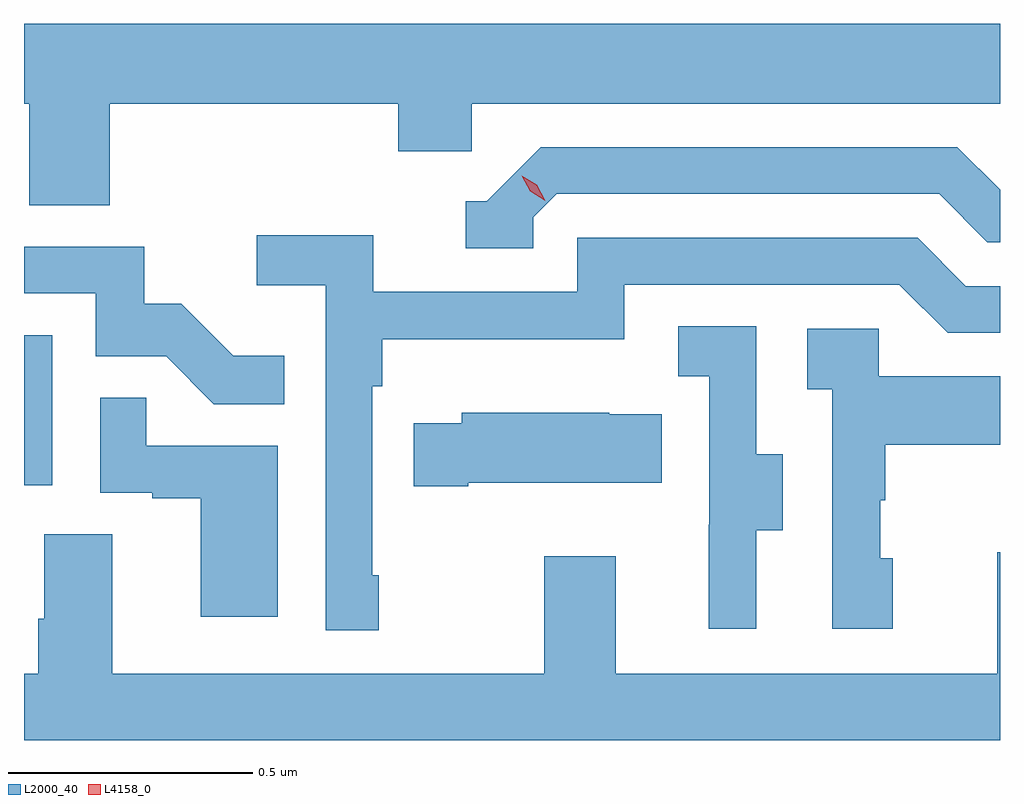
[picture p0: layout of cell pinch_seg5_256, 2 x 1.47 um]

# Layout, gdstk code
import gdstk
lib = gdstk.Library(unit=1e-6, precision=1e-09)
def R(c, l, rs):  # rectangles x0, y0, x1, y1
    for r in rs: c.add(gdstk.rectangle(r[:2], r[2:], *l))
def P(c, l, *ps):  # polygons
    for p in ps: c.add(gdstk.Polygon(p, *l))
L2000_40 = (2000, 40)
L4158_0 = (4158, 0)

pinch_seg5_256 = lib.new_cell('pinch_seg5_256')
R(pinch_seg5_256, L2000_40, [(935.544,902.598,935.602,902.905)])
P(pinch_seg5_256, L2000_40, [(935.72,903.38),(936.311,903.38),(936.311,903.282),(936.462,903.282),(936.462,903.38),(937.544,903.38),(937.544,903.544),(935.544,903.544),(935.544,903.38),(935.555,903.38),(935.555,903.172),(935.72,903.172)],
  [(936.588,903.147),(936.636,903.195),(937.419,903.195),(937.518,903.096),(937.544,903.096),(937.544,903.203),(937.456,903.291),(936.603,903.291),(936.492,903.18),(936.449,903.18),(936.449,903.084),(936.588,903.084)],
  [(936.271,902.413),(936.258,902.413),(936.258,902.801),(936.278,902.801),(936.278,902.897),(936.774,902.897),(936.774,903.009),(937.338,903.009),(937.437,902.91),(937.544,902.91),(937.544,903.006),(937.474,903.006),(937.375,903.105),(936.678,903.105),(936.678,902.994),(936.26,902.994),(936.26,903.11),(936.021,903.11),(936.021,903.008),(936.162,903.008),(936.162,902.301),(936.271,902.301)],
  [(936.077,902.863),(935.973,902.863),(935.866,902.97),(935.79,902.97),(935.79,903.087),(935.544,903.087),(935.544,902.991),(935.691,902.991),(935.691,902.862),(935.835,902.862),(935.933,902.764),(936.077,902.764)],
  [(937.045,902.506),(937.099,902.506),(937.099,902.661),(937.044,902.661),(937.044,902.924),(936.885,902.924),(936.885,902.821),(936.948,902.821),(936.948,902.517),(936.947,902.517),(936.947,902.304),(937.045,902.304)],
  [(937.324,902.448),(937.299,902.448),(937.299,902.567),(937.309,902.567),(937.309,902.681),(937.544,902.681),(937.544,902.821),(937.296,902.821),(937.296,902.919),(937.149,902.919),(937.149,902.795),(937.2,902.795),(937.2,902.304),(937.324,902.304)],
  [(936.064,902.679),(935.795,902.679),(935.795,902.777),(935.7,902.777),(935.7,902.583),(935.807,902.583),(935.807,902.571),(935.906,902.571),(935.906,902.328),(936.064,902.328)],
  [(936.454,902.603),(936.851,902.603),(936.851,902.743),(936.743,902.743),(936.743,902.746),(936.441,902.746),(936.441,902.725),(936.343,902.725),(936.343,902.596),(936.454,902.596)],
  [(937.544,902.461),(937.538,902.461),(937.538,902.212),(936.757,902.212),(936.757,902.452),(936.61,902.452),(936.61,902.212),(935.725,902.212),(935.725,902.498),(935.585,902.498),(935.585,902.324),(935.573,902.324),(935.573,902.212),(935.544,902.212),(935.544,902.075),(937.544,902.075)])
P(pinch_seg5_256, L4158_0, [(936.612,903.181),(936.581,903.2),(936.564,903.232),(936.564,903.232),(936.564,903.232),(936.595,903.214),(936.612,903.181),(936.612,903.181)])

lib.write_gds('pinch_seg5_256.gds')
